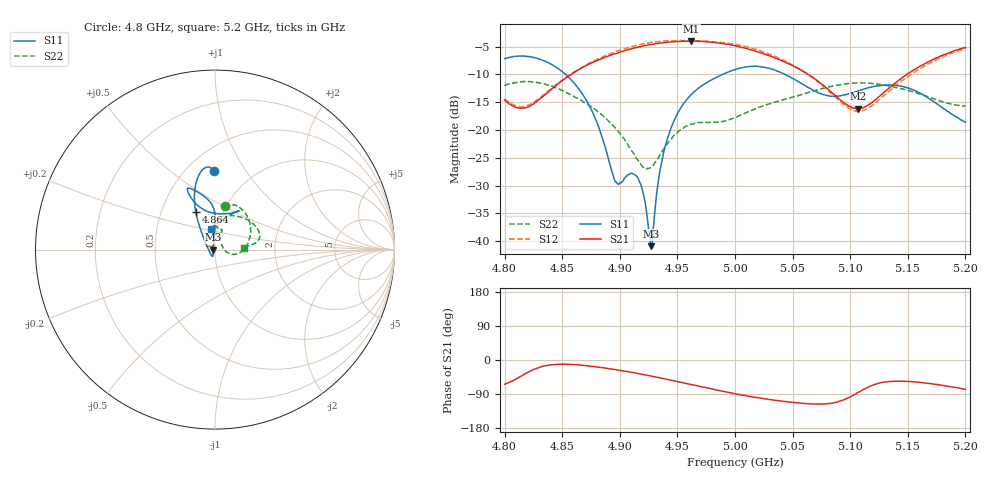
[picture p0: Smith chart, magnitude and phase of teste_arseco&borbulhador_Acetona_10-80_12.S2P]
! Network Analyzer HP8722D
! Hewlett-Packard
! Data name: Linha & Wilkinson
! Saver's name: Rodrigo Anjos
! Comments: Teste da utilização de aquisição
! continua pelo VNA HP8722D
! Time and date: 25/4/2025 15:22
!  Frequency  S11  S21  S12  S22
# HZ  S  MA R 50
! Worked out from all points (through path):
!   401 points, 4.8 GHz to 5.2 GHz, reference 50 ohm
!   highest |S21| = -4.01 dB at 4.962 GHz (marker M1); lowest = -16.2 dB at 5.107 GHz (marker M2)
!   lowest |S11| = -40.9 dB at 4.927 GHz (marker M3), VSWR 1.02, Z = 49.1 + j0.0106 ohm
!   |S11| at or under -10 dB: 4.853 GHz to 4.989 GHz (136.5 MHz wide, 2.77 % of centre); 5.043 GHz to end of sweep
!   |S22| runs from -27.1 to -11.3 dB; largest |S21 - S12| = 1.2
!   S11 on the Smith chart (normalised r, x): 4.8 GHz: 0.67, +0.73; 4.864 GHz: 0.74, +0.33; 5.2 GHz: 0.93, +0.22
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4.8e9  0.4377 90.8  0.1855 -63.9  0.1903 69.5  0.2494 77.2
4.82e9  0.4564 97.2  0.1602 -32.7  0.166 98.1  0.2722 61.6
4.843e9  0.3761 106.6  0.2436 -12.1  0.2474 118.7  0.2437 36.9
4.864e9  0.2374 116.8  0.3471 -12.8  0.3496 120.9  0.1906 12.6
4.867e9  0.2143 118.5  0.3616 -13.8  0.365 120.5  0.183 9.4
4.88e9  0.1177 128.6  0.4198 -18.2  0.4298 118.2  0.1488 -4.4
4.897e9  0.0339 -168.4  0.4878 -25.9  0.5095 112.9  0.1017 -15.1
4.91e9  0.04073 -112.1  0.5351 -32.6  0.5601 107.1  0.06601 -11.3
4.917e9  0.03436 -108.6  0.5597 -36.4  0.584 103.6  0.05066 1.3
4.921e9  0.02519 -114.3  0.5729 -38.5  0.5971 101.4  0.04589 14.4
4.927e9  0.009009 179.3  0.5853 -42.4  0.6129 97.5  0.04609 37.3
4.929e9  0.01286 131.7  0.5896 -43.4  0.6145 96.5  0.04803 44.2
4.934e9  0.03792 100.7  0.6013 -46.8  0.6241 93.2  0.05779 56.6
4.945e9  0.1075 90.9  0.6184 -53.6  0.6355 86.4  0.08375 68.0
4.962e9  0.2078 90.5  0.6303 -65.0  0.6345 75.4  0.1127 69.8
5e9  0.3498 109.0  0.5704 -89.1  0.5888 50.8  0.1292 87.3
5.031e9  0.3546 115.1  0.4594 -104.8  0.4741 33.4  0.1732 84.4
5.067e9  0.2306 105.5  0.3002 -115.9  0.2971 23.5  0.2215 57.1
5.107e9  0.2249 65.0  0.1554 -85.5  0.1472 57.6  0.2642 24.1
5.134e9  0.254 58.3  0.2394 -56.8  0.2246 88.6  0.2484 12.4
5.169e9  0.1899 71.2  0.4153 -62.0  0.3987 84.8  0.1963 7.0
5.2e9  0.117 100.7  0.5516 -77.5  0.5411 70.2  0.1638 3.6
